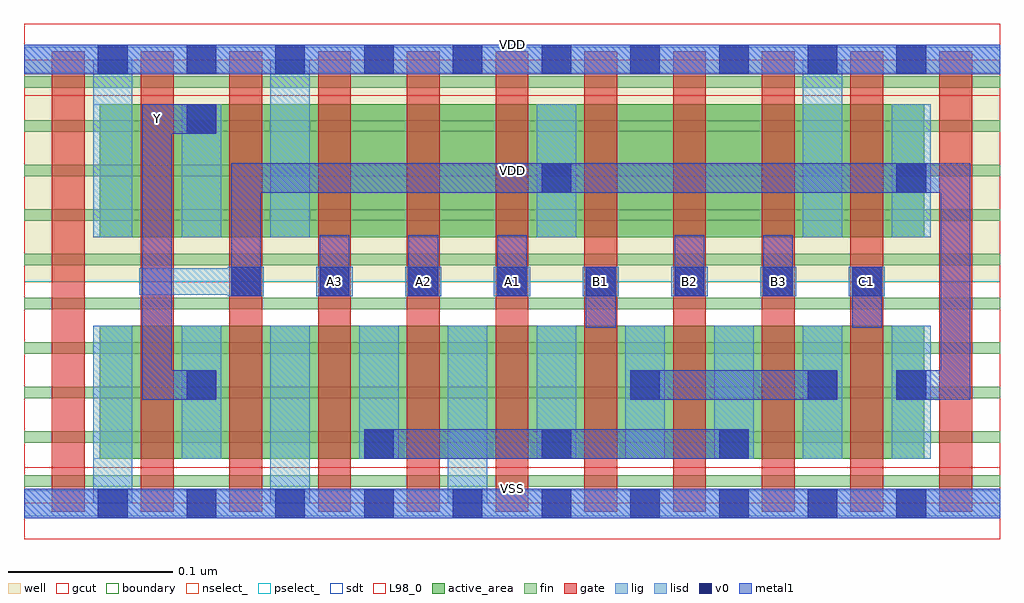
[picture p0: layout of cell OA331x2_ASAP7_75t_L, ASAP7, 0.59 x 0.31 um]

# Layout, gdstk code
import gdstk
lib = gdstk.Library(unit=1e-6, precision=2.5e-10)
def R(c, l, rs):  # rectangles x0, y0, x1, y1
    for r in rs: c.add(gdstk.rectangle(r[:2], r[2:], *l))
def A(c, l, x, y, w, h, nx, ny, dx, dy):  # array of equal rectangles
    R(c, l, [(x+i*dx, y+j*dy, x+i*dx+w, y+j*dy+h) for i in range(nx) for j in range(ny)])
def P(c, l, *ps):  # polygons
    for p in ps: c.add(gdstk.Polygon(p, *l))
well = (1, 0)
fin = (2, 0)
gate = (7, 0)
gcut = (10, 0)
active_area = (11, 0)
nselect_ = (12, 0)
pselect_ = (13, 0)
lig = (16, 0)
lisd = (17, 0)
v0 = (18, 0)
metal1 = (19, 0)
sdt = (88, 0)
L98_0 = (98, 0)
boundary = (100, 0)

oa331x2_asap7_75t_l = lib.new_cell('OA331x2_ASAP7_75t_L')
R(oa331x2_asap7_75t_l, well, [(0,0.135,0.594,0.27)])
A(oa331x2_asap7_75t_l, fin, 0, 0.01, 0.594, 0.007, 1, 10, 0, 0.027)
A(oa331x2_asap7_75t_l, gate, 0.017, -0.005, 0.02, 0.28, 11, 1, 0.054, 0)
R(oa331x2_asap7_75t_l, gcut, [(0,-0.022,0.594,0.022), (0,0.248,0.594,0.292)])
R(oa331x2_asap7_75t_l, active_area, [(0.046,0.027,0.548,0.108), (0.046,0.162,0.548,0.243)])
R(oa331x2_asap7_75t_l, nselect_, [(0,0,0.594,0.135)])
R(oa331x2_asap7_75t_l, pselect_, [(0,0.135,0.594,0.27)])
A(oa331x2_asap7_75t_l, lig, 0.124, 0.126, 0.022, 0.018, 8, 1, 0.054, 0)
R(oa331x2_asap7_75t_l, lig, [(0,-0.008,0.594,0.008), (0.07,0.127,0.146,0.143), (0,0.262,0.594,0.278)])
A(oa331x2_asap7_75t_l, lisd, 0.096, 0.027, 0.024, 0.081, 3, 1, 0.108, 0)
A(oa331x2_asap7_75t_l, lisd, 0.366, 0.027, 0.024, 0.081, 4, 1, 0.054, 0)
A(oa331x2_asap7_75t_l, lisd, 0.096, 0.162, 0.024, 0.081, 3, 1, 0.216, 0)
R(oa331x2_asap7_75t_l, lisd, [(0.042,0,0.066,0.108), (0.042,0,0.066,0.108), (0.15,0,0.174,0.108), (0.15,0,0.174,0.108), (0.258,0,0.282,0.108), (0.258,0,0.282,0.108), (0.042,0.162,0.066,0.27), (0.042,0.162,0.066,0.27), (0.15,0.162,0.174,0.27), (0.15,0.162,0.174,0.27), (0.474,0.162,0.498,0.27), (0.474,0.162,0.498,0.27)])
A(oa331x2_asap7_75t_l, v0, 0.045, -0.009, 0.018, 0.018, 10, 2, 0.054, 0.27)
A(oa331x2_asap7_75t_l, v0, 0.207, 0.027, 0.018, 0.018, 3, 1, 0.108, 0)
A(oa331x2_asap7_75t_l, v0, 0.126, 0.126, 0.018, 0.018, 8, 1, 0.054, 0)
R(oa331x2_asap7_75t_l, v0, [(0.099,0.063,0.117,0.081), (0.369,0.063,0.387,0.081), (0.477,0.063,0.495,0.081), (0.531,0.063,0.549,0.081), (0.315,0.189,0.333,0.207), (0.531,0.189,0.549,0.207), (0.099,0.225,0.117,0.243)])
A(oa331x2_asap7_75t_l, metal1, 0.207, 0.027, 0.018, 0.018, 3, 1, 0.108, 0)
A(oa331x2_asap7_75t_l, metal1, 0.126, 0.126, 0.018, 0.018, 8, 1, 0.054, 0)
A(oa331x2_asap7_75t_l, metal1, 0.18, 0.126, 0.018, 0.037, 3, 1, 0.054, 0)
R(oa331x2_asap7_75t_l, metal1, [(0,-0.009,0.594,0.009), (0.207,0.027,0.441,0.045), (0.099,0.063,0.117,0.081), (0.369,0.063,0.387,0.081), (0.369,0.063,0.495,0.081), (0.477,0.063,0.495,0.081), (0.531,0.063,0.549,0.081), (0.342,0.107,0.36,0.144), (0.504,0.107,0.522,0.144), (0.396,0.126,0.414,0.163), (0.45,0.126,0.468,0.163), (0.315,0.189,0.333,0.207), (0.531,0.189,0.549,0.207), (0.099,0.225,0.117,0.243), (0,0.261,0.594,0.279)])
P(oa331x2_asap7_75t_l, metal1, [(0.126,0.207),(0.126,0.126),(0.144,0.126),(0.144,0.189),(0.558,0.189),(0.558,0.081),(0.531,0.081),(0.531,0.063),(0.576,0.063),(0.576,0.207)],
  [(0.117,0.081),(0.09,0.081),(0.09,0.225),(0.117,0.225),(0.117,0.243),(0.072,0.243),(0.072,0.063),(0.117,0.063)])
A(oa331x2_asap7_75t_l, sdt, 0.042, 0.027, 0.024, 0.081, 3, 2, 0.054, 0.135)
A(oa331x2_asap7_75t_l, sdt, 0.15, 0.027, 0.024, 0.081, 3, 1, 0.054, 0)
A(oa331x2_asap7_75t_l, sdt, 0.258, 0.027, 0.024, 0.081, 6, 1, 0.054, 0)
A(oa331x2_asap7_75t_l, sdt, 0.15, 0.162, 0.024, 0.081, 3, 1, 0.162, 0)
R(oa331x2_asap7_75t_l, sdt, [(0.042,0.027,0.066,0.108), (0.042,0.162,0.066,0.243), (0.474,0.162,0.498,0.243), (0.528,0.162,0.552,0.243)])
R(oa331x2_asap7_75t_l, L98_0, [(0,0,0.594,0.27)])
R(oa331x2_asap7_75t_l, boundary, [(0,0,0.594,0.27)])
oa331x2_asap7_75t_l.add(gdstk.Label('VDD', (0.297,0.2025), layer=1, texttype=251))
oa331x2_asap7_75t_l.add(gdstk.Label('VSS', (0.297,-0.0675), layer=3, texttype=251))
oa331x2_asap7_75t_l.add(gdstk.Label('VSS', (0.297,0.009), layer=19, texttype=251))
oa331x2_asap7_75t_l.add(gdstk.Label('VDD', (0.297,0.279), layer=19, texttype=251))
oa331x2_asap7_75t_l.add(gdstk.Label('Y', (0.081,0.234), layer=19, texttype=251))
oa331x2_asap7_75t_l.add(gdstk.Label('A3', (0.189,0.135), layer=19, texttype=251))
oa331x2_asap7_75t_l.add(gdstk.Label('A2', (0.243,0.135), layer=19, texttype=251))
oa331x2_asap7_75t_l.add(gdstk.Label('A1', (0.297,0.135), layer=19, texttype=251))
oa331x2_asap7_75t_l.add(gdstk.Label('B1', (0.351,0.135), layer=19, texttype=251))
oa331x2_asap7_75t_l.add(gdstk.Label('B2', (0.405,0.135), layer=19, texttype=251))
oa331x2_asap7_75t_l.add(gdstk.Label('B3', (0.459,0.135), layer=19, texttype=251))
oa331x2_asap7_75t_l.add(gdstk.Label('C1', (0.513,0.135), layer=19, texttype=251))

lib.write_gds('OA331x2_ASAP7_75t_L.gds')
